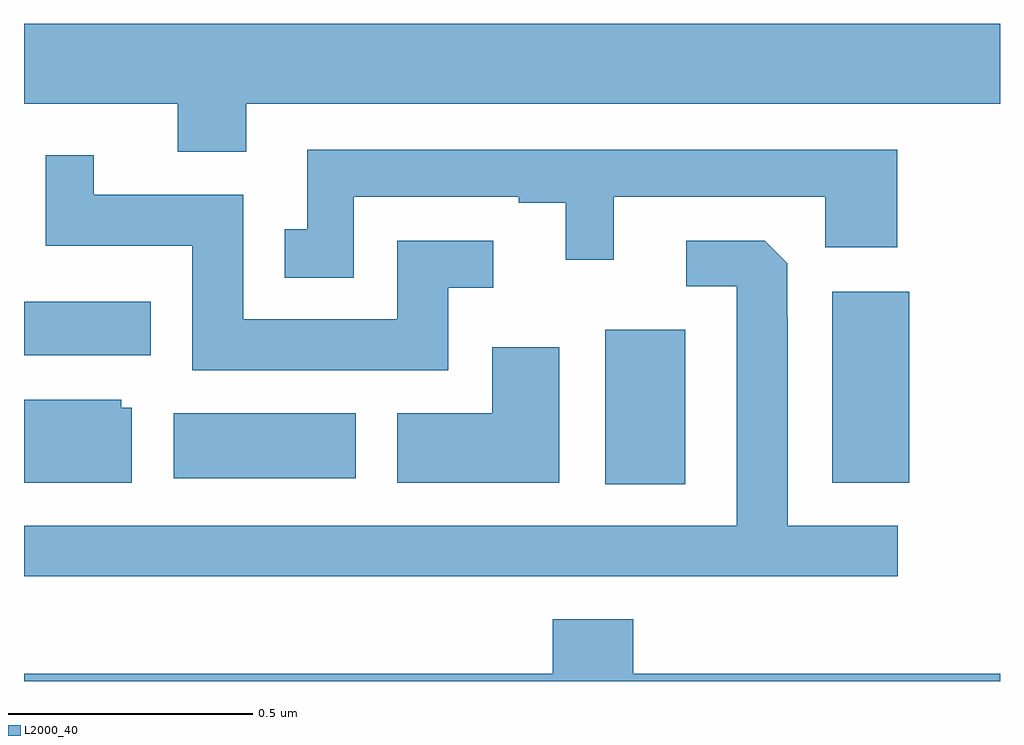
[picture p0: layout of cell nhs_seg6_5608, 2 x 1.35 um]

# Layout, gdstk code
import gdstk
lib = gdstk.Library(unit=1e-6, precision=1e-09)
def R(c, l, rs):  # rectangles x0, y0, x1, y1
    for r in rs: c.add(gdstk.rectangle(r[:2], r[2:], *l))
def P(c, l, *ps):  # polygons
    for p in ps: c.add(gdstk.Polygon(p, *l))
L2000_40 = (2000, 40)

nhs_seg6_5608 = lib.new_cell('nhs_seg6_5608')
R(nhs_seg6_5608, L2000_40, [(186.191,931.904,186.355,932.221), (186.656,931.907,186.814,932.299), (185.307,931.916,185.68,932.05), (185,932.168,185.26,932.278)])
P(nhs_seg6_5608, L2000_40, [(185.455,932.684),(187,932.684),(187,932.848),(185,932.848),(185,932.684),(185.315,932.684),(185.315,932.585),(185.455,932.585)],
  [(185.676,932.493),(186.014,932.493),(186.014,932.481),(186.11,932.481),(186.11,932.364),(186.208,932.364),(186.208,932.493),(186.642,932.493),(186.642,932.39),(186.789,932.39),(186.789,932.589),(185.58,932.589),(185.58,932.427),(185.534,932.427),(185.534,932.327),(185.676,932.327)],
  [(185.869,932.307),(185.962,932.307),(185.962,932.403),(185.765,932.403),(185.765,932.242),(185.449,932.242),(185.449,932.497),(185.143,932.497),(185.143,932.578),(185.045,932.578),(185.045,932.393),(185.345,932.393),(185.345,932.138),(185.869,932.138)],
  [(186.79,931.819),(186.565,931.819),(186.565,932.246),(186.564,932.246),(186.564,932.357),(186.518,932.403),(186.357,932.403),(186.357,932.31),(186.461,932.31),(186.461,931.819),(185,931.819),(185,931.715),(186.79,931.715)],
  [(186.097,932.185),(185.96,932.185),(185.96,932.05),(185.765,932.05),(185.765,931.907),(186.097,931.907)],
  [(185.221,932.061),(185.199,932.061),(185.199,932.077),(185,932.077),(185,931.907),(185.221,931.907)],
  [(187,931.516),(186.248,931.516),(186.248,931.627),(186.083,931.627),(186.083,931.516),(185,931.516),(185,931.5),(187,931.5)])

lib.write_gds('nhs_seg6_5608.gds')
